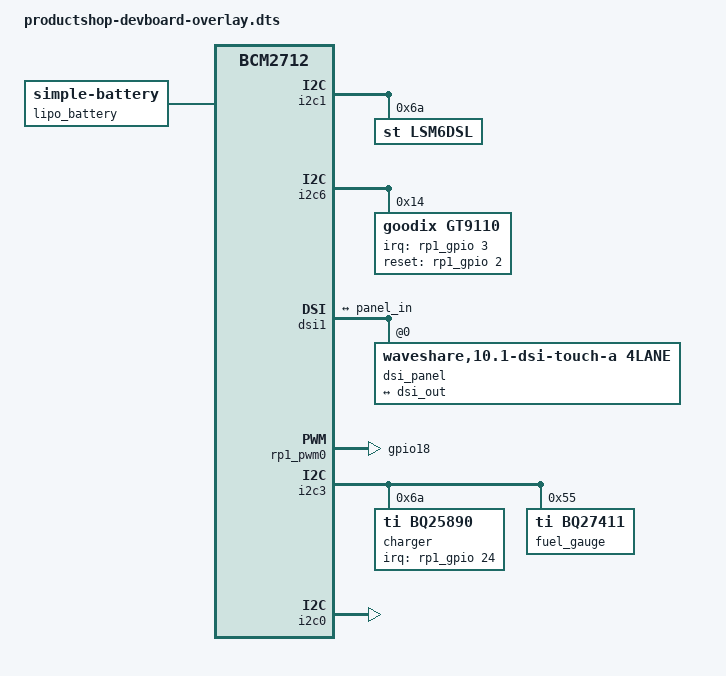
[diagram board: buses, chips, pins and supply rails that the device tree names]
/dts-v1/;
/plugin/;

#include <dt-bindings/gpio/gpio.h>    // For GPIO_ACTIVE_*, if needed
#include <dt-bindings/interrupt-controller/irq.h>  // If needed for the <X 2> style


/{
    compatible = "brcm,bcm2712";

    /*
     * ------------------------------------------------------------------
     *  Battery definition for 10,000 mAh LiPo
     * ------------------------------------------------------------------
     */
    lipo_battery: battery {
        compatible = "simple-battery";
        voltage-min-design-microvolt = <3000000>;
        voltage-max-design-microvolt = <4200000>;
        energy-full-design-microwatt-hours = <37000000>;
        charge-full-design-microamp-hours = <10000000>;
    };


    /*
     * ------------------------------------------------------------------
     *  fragment@0: Configure i2c1 on pins 10/11
     * ------------------------------------------------------------------
     */
    fragment@0 {
        target = <&i2c1>;
        __overlay__ {
            pinctrl-0 = <&rp1_i2c1_10_11>;
            status = "okay";
        };
    };

    /*
     * ------------------------------------------------------------------
     *  fragment@1: GPIO pins for Goodix touchscreen on i2c6
     *  (Use rp1_gpio instead of the old &gpio)
     * ------------------------------------------------------------------
     */
    fragment@1 {
        target = <&rp1_gpio>;
        __overlay__ {

            /* Define a pin group for Goodix's IRQ and Reset lines. */
            goodix_pins: goodix_pins {
                pins = "gpio2", "gpio3";
                function = "gpio";
                bias-pull-up;  /* Both pins pulled up */
            };
        };
    };

    /*
     * ------------------------------------------------------------------
     *  fragment@2: Goodix touchscreen on i2c6
     * ------------------------------------------------------------------
     */
    i2c_frag: fragment@2 {
        target = <&i2c6>;
        __overlay__ {
            #address-cells = <1>;
            #size-cells = <0>;
            status = "okay";

            gt9110: gt9110@14 {
                compatible = "goodix,gt9110";
                reg = <0x14>;

                /* Use the newly-defined pin group for IR/Reset */
                pinctrl-names = "default";
                pinctrl-0 = <&goodix_pins>;

                /* Use &rp1_gpio as the interrupt parent */
                interrupt-parent = <&rp1_gpio>;
                interrupts = <3 1>;    // pin 3, likely "falling edge" or "high"? (check)
                irq-gpios = <&rp1_gpio 3 0>;
                reset-gpios = <&rp1_gpio 2 0>;

                touchscreen-size-x = <1280>;
                touchscreen-size-y = <800>;
                // touchscreen-swapped-x-y;
                touchscreen-inverted-y;
                touchscreen-inverted-x;
            };
        };
    };

    /*
     * ------------------------------------------------------------------
     *  fragment@3: DSI panel at dsi1
     * ------------------------------------------------------------------
     */
    dsi_frag: fragment@3 {
        target = <&dsi1>;
        __overlay__ {
            #address-cells = <1>;
            #size-cells = <0>;
            status = "okay";

            port {
                dsi_out: endpoint {
                    remote-endpoint = <&panel_in>;
                };
            };

            dsi_panel: dsi_panel@0 {
                reg = <0>;
                compatible = "waveshare,10.1-dsi-touch-a,4lane";
                rotation = <270>;
                status = "okay";

                port {
                    panel_in: endpoint {
                        remote-endpoint = <&dsi_out>;
                    };
                };
            };
        };
    };

    /*
     * ------------------------------------------------------------------
     *  fragment@A_pinctrl: Configure GPIO18 for PWM0 function
     * ------------------------------------------------------------------
     */

    fragment@A_pinctrl {
        target = <&rp1_gpio>;
        __overlay__ {
            pwm_pins: pwm_pins {
                pins = "gpio18";
                function = "pwm0";
                 bias-pull-up;  /* Both pins pulled up */
            };
        };
    };
    /*
     * ------------------------------------------------------------------
     *  fragment@B_pwm_controller: Enable PWM controller on rp1_pwm0
     * ------------------------------------------------------------------
     */
    fragment@B_pwm_controller {
        target = <&rp1_pwm0>;
        __overlay__ {
            pinctrl-names = "default";
            pinctrl-0 = <&pwm_pins>;
            /* in Hz */
			/* Max supported frequency is 76.8MHz */
			/* https://forums.raspberrypi.com/viewtopic.php?p=2199962#p2199885 */
			assigned-clock-rates = <75000000>;
            status = "okay";
        };
    };

    
    // /*
    //  * ------------------------------------------------------------------
    //  *  fragment@C_backlight_device: Create a backlight device using PWM0
    //  * ------------------------------------------------------------------
    //  */
        // fragment@C_backlight_device {
        //     target_path = "/";
        //         __overlay__ {
        //         hw_pwm_backlight: backlight {
        //             compatible = "pwm-backlight";
        //             /* channel=0, period=50000 ns => 20kHz, normal polarity */
        //             pwms = <&rp1_pwm0 2 50000 0>;

        //             /* Simple brightness table */
        //             brightness-levels = <0 4 8 16 32 64 128 255>;
        //             default-brightness-level = <6>;
        //             status = "okay";
        //         };  
        //     };
        // };

    /*
     * ------------------------------------------------------------------
     *  fragment@4: LSM6DSL IMU on i2c1 at 0x6A
     * ------------------------------------------------------------------
     */
    fragment@4 {
        target = <&i2c1>;
        __overlay__ {
            #address-cells = <1>;
            #size-cells = <0>;
            status = "okay";

            lsm6dsl: lsm6dsl@6a {
                compatible = "st,lsm6dsl";
                reg = <0x6a>;
                status = "okay";
            };
        };
    };

    /*
     * ------------------------------------------------------------------
     *  fragment@5: Enable i2c3 and BQ charger/gauge
     * ------------------------------------------------------------------
     */
    fragment@5 {
        target = <&i2c3>;
        __overlay__ {
            #address-cells = <1>;
            #size-cells = <0>;
            pinctrl-0 = <&rp1_i2c3_22_23>;
            status = "okay";

            charger: charger@6a {
                compatible = "ti,bq25890";
                reg = <0x6a>;

                pinctrl-names = "default";
                pinctrl-0 = <&pinctrl_charger>;

                /* Use rp1_gpio as interrupt parent */
                interrupt-parent = <&rp1_gpio>;
                interrupts = <24 2>; /* If pin 24 is used, mode=2 might be falling edge */
                ti,battery-regulation-voltage = <4200000>;
                ti,charge-current = <3000000>;
                ti,termination-current = <200000>;
                ti,precharge-current = <300000>;
                ti,minimum-sys-voltage = <3500000>;
                ti,boost-voltage = <5000000>;
                ti,boost-max-current = <1000000>;
                ti,input-current-limit = <3000000>;
                ti,iinlim-pin-enable;
                ti,use-ilim-pin;
                status = "okay";
            };

            fuel_gauge: fuel_gauge@55 {
                compatible = "ti,bq27411";
                reg = <0x55>;
                monitored-battery = <&lipo_battery>;
                status = "okay";
            };
        };
    };

    /*
     * ------------------------------------------------------------------
     *  fragment@6: Define pinctrl_charger for pin 24
     * ------------------------------------------------------------------
     */
    fragment@6 {
        target = <&rp1_gpio>;
        __overlay__ {
            pinctrl_charger: pinctrl_charger {
                pins = "gpio24";
                function = "gpio";
                bias-pull-up;
            };
        };
    };

    /*
     * ------------------------------------------------------------------
     *  fragment@7: Configure i2c2 for NFC
     * ------------------------------------------------------------------
     */
    // fragment@7 {
    //     target = <&i2c2>;
    //     __overlay__ {
    //         #address-cells = <1>;
    //         #size-cells = <0>;
    //         pinctrl-0 = <&rp1_i2c2_12_13>;
    //         clock-frequency = <100000>;
    //         status = "okay";
    //     };
    // };

    /*
     * ------------------------------------------------------------------
     *  fragment@8: Enable CAM_GPIO1 pin
     * ------------------------------------------------------------------
     */
    fragment@8 {
        target = <&rp1_gpio>; // Target the RP1 GPIO controller, which also handles pinctrl for its pins

        __overlay__ {
            // 1. Pinctrl node (as you provided)
            // This node will become a child of &rp1_gpio after the overlay is applied.
            // Its label 'cam_gpio1_pin_cfg' allows it to be referenced by pinctrl-0.
            cam_gpio1_pin_cfg: cam_gpio1_pinctrl_settings {
                // IMPORTANT: "CAM_GPIO1" here must be a name the pinctrl driver for &rp1_gpio
                // understands and can map to the physical pin (e.g., RP1 GPIO 28).
                // If your pinctrl driver expects raw pin numbers, you might need
                // device-specific properties like `brcm,pins = <28>;` instead of `pins = "CAM_GPIO1";`.
                // And `brcm,function = <1>;` (for output) instead of `function = "gpio";`
                // And `brcm,pull = <2>;` (for pull-up) instead of `bias-pull-up;`
                // However, we'll use your provided generic syntax first.
                pins = "gpio35";      // Pin identifier string (e.g., maps to RP1 GPIO 28)
                function = "gpio";       // Set pinmux to GPIO function
                bias-pull-up;            // Enable internal pull-up resistor
            };

            // 2. GPIO Hog node to set the pin high
            // This node will also become a child of &rp1_gpio.
            cam_gpio1_set_output_high: cam_gpio1_hog_control {
                compatible = "gpio-hog";
                // This gpios property MUST use the numeric offset of the GPIO within the controller.
                // Replace '28' with the actual GPIO number for CAM_GPIO1 on the RP1 controller.
                gpios = <&rp1_gpio 35 GPIO_ACTIVE_HIGH>; // GPIO 28, active-high logic.
                                                         // GPIO_ACTIVE_HIGH indicates the pin's natural "on" state.
                output-high;          // Configure as output, and set its initial state to high.
                pinctrl-names = "default";
                pinctrl-0 = <&cam_gpio1_pin_cfg>; // Apply the pinctrl settings defined above.
                line-name = "cam-gpio1-enable";   // Optional: a descriptive name for /sys/kernel/debug/gpio
                status = "okay";      // This ensures this GPIO hog node is enabled and processed.
            };
        };
    };

    /*
     * ------------------------------------------------------------------
     *  fragment@9: Set GPIO18 to high
     * ------------------------------------------------------------------
     */
    fragment@9 {
        target = <&rp1_gpio>;
        __overlay__ {
            gpio18_high: gpio18_high {
                pins = "gpio18";
                function = "gpio";
                output-high;
            };
        };
    };

    /*
     * ------------------------------------------------------------------
     *  fragment@10: Enable i2c0 for camera
     * ------------------------------------------------------------------
     */
    fragment@10 {
        target = <&i2c0>;
        __overlay__ {
            #address-cells = <1>;
            #size-cells = <0>;
            status = "okay";
        };
    };

    /*
     * ------------------------------------------------------------------
     *  __overrides__ Section
     * ------------------------------------------------------------------
     */
    __overrides__ {
        4_0_inch_a         = <&dsi_panel>, "compatible=waveshare,4.0-dsi-touch-a";
        5_0_inch_a         = <&dsi_panel>, "compatible=waveshare,5.0-dsi-touch-a";
        5_5_inch_a         = <&dsi_panel>, "compatible=waveshare,5.5-dsi-touch-a";
        7_0_inch_a         = <&dsi_panel>, "compatible=waveshare,7.0-dsi-touch-a";
        7_0_inch_b         = <&dsi_panel>, "compatible=waveshare,7.0-dsi-touch-b";
        7_0_inch_c         = <&dsi_panel>, "compatible=waveshare,7.0-dsi-touch-c";
        8_0_inch_a         = <&dsi_panel>, "compatible=waveshare,8.0-dsi-touch-a";
        8_0_inch_a_4lane   = <&dsi_panel>, "compatible=waveshare,8.0-dsi-touch-a,4lane";
        8_1_inch_a         = <&dsi_panel>, "compatible=waveshare,8.1-dsi-touch-a";
        10_1_inch_a        = <&dsi_panel>, "compatible=waveshare,10.1-dsi-touch-a";
        10_1_inch_a_4lane  = <&dsi_panel>, "compatible=waveshare,10.1-dsi-touch-a,4lane";
        10_1_inch_b        = <&dsi_panel>, "compatible=waveshare,10.1-dsi-touch-b";
        10_1_inch_b_4lane  = <&dsi_panel>, "compatible=waveshare,10.1-dsi-touch-b,4lane";
        lsm6dsl = <0>,"+0";
        rotation = <&dsi_panel>, "rotation:0";
    };
};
